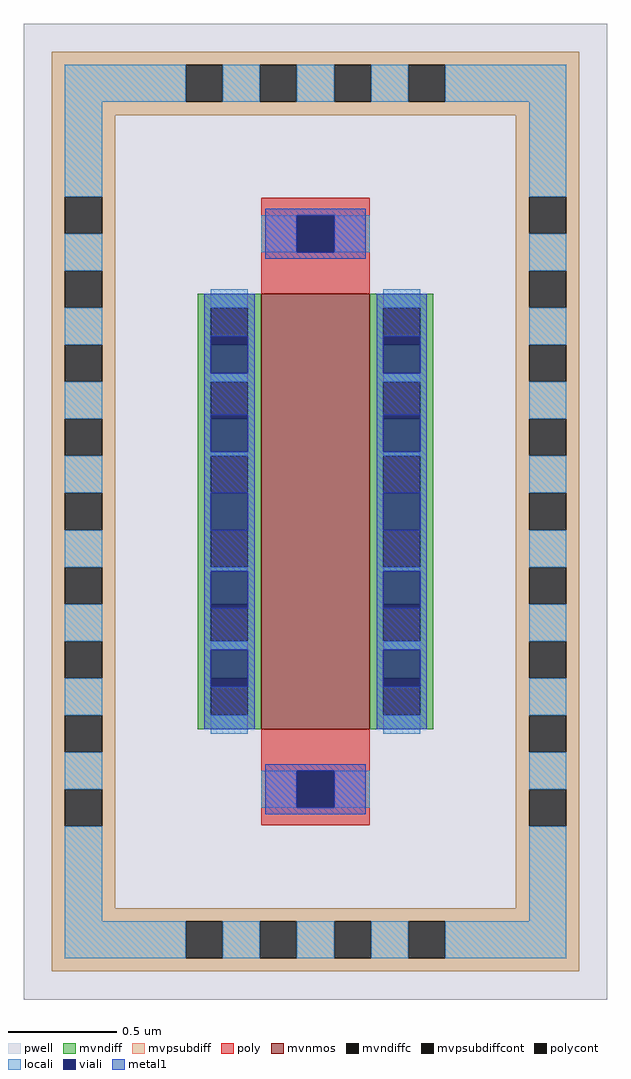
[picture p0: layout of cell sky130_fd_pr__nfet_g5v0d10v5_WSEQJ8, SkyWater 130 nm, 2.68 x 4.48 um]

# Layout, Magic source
magic
tech sky130A
magscale 1 2
<< pwell >>
rect -268 -448 268 448
<< mvnmos >>
rect -50 -200 50 200
<< mvndiff >>
rect -108 187 -50 200
rect -108 153 -96 187
rect -62 153 -50 187
rect -108 119 -50 153
rect -108 85 -96 119
rect -62 85 -50 119
rect -108 51 -50 85
rect -108 17 -96 51
rect -62 17 -50 51
rect -108 -17 -50 17
rect -108 -51 -96 -17
rect -62 -51 -50 -17
rect -108 -85 -50 -51
rect -108 -119 -96 -85
rect -62 -119 -50 -85
rect -108 -153 -50 -119
rect -108 -187 -96 -153
rect -62 -187 -50 -153
rect -108 -200 -50 -187
rect 50 187 108 200
rect 50 153 62 187
rect 96 153 108 187
rect 50 119 108 153
rect 50 85 62 119
rect 96 85 108 119
rect 50 51 108 85
rect 50 17 62 51
rect 96 17 108 51
rect 50 -17 108 17
rect 50 -51 62 -17
rect 96 -51 108 -17
rect 50 -85 108 -51
rect 50 -119 62 -85
rect 96 -119 108 -85
rect 50 -153 108 -119
rect 50 -187 62 -153
rect 96 -187 108 -153
rect 50 -200 108 -187
<< mvndiffc >>
rect -96 153 -62 187
rect -96 85 -62 119
rect -96 17 -62 51
rect -96 -51 -62 -17
rect -96 -119 -62 -85
rect -96 -187 -62 -153
rect 62 153 96 187
rect 62 85 96 119
rect 62 17 96 51
rect 62 -51 96 -17
rect 62 -119 96 -85
rect 62 -187 96 -153
<< mvpsubdiff >>
rect -242 410 242 422
rect -242 376 -119 410
rect -85 376 -51 410
rect -17 376 17 410
rect 51 376 85 410
rect 119 376 242 410
rect -242 364 242 376
rect -242 289 -184 364
rect -242 255 -230 289
rect -196 255 -184 289
rect 184 289 242 364
rect -242 221 -184 255
rect -242 187 -230 221
rect -196 187 -184 221
rect 184 255 196 289
rect 230 255 242 289
rect 184 221 242 255
rect -242 153 -184 187
rect -242 119 -230 153
rect -196 119 -184 153
rect -242 85 -184 119
rect -242 51 -230 85
rect -196 51 -184 85
rect -242 17 -184 51
rect -242 -17 -230 17
rect -196 -17 -184 17
rect -242 -51 -184 -17
rect -242 -85 -230 -51
rect -196 -85 -184 -51
rect -242 -119 -184 -85
rect -242 -153 -230 -119
rect -196 -153 -184 -119
rect -242 -187 -184 -153
rect -242 -221 -230 -187
rect -196 -221 -184 -187
rect 184 187 196 221
rect 230 187 242 221
rect 184 153 242 187
rect 184 119 196 153
rect 230 119 242 153
rect 184 85 242 119
rect 184 51 196 85
rect 230 51 242 85
rect 184 17 242 51
rect 184 -17 196 17
rect 230 -17 242 17
rect 184 -51 242 -17
rect 184 -85 196 -51
rect 230 -85 242 -51
rect 184 -119 242 -85
rect 184 -153 196 -119
rect 230 -153 242 -119
rect 184 -187 242 -153
rect -242 -255 -184 -221
rect -242 -289 -230 -255
rect -196 -289 -184 -255
rect 184 -221 196 -187
rect 230 -221 242 -187
rect 184 -255 242 -221
rect -242 -364 -184 -289
rect 184 -289 196 -255
rect 230 -289 242 -255
rect 184 -364 242 -289
rect -242 -376 242 -364
rect -242 -410 -119 -376
rect -85 -410 -51 -376
rect -17 -410 17 -376
rect 51 -410 85 -376
rect 119 -410 242 -376
rect -242 -422 242 -410
<< mvpsubdiffcont >>
rect -119 376 -85 410
rect -51 376 -17 410
rect 17 376 51 410
rect 85 376 119 410
rect -230 255 -196 289
rect -230 187 -196 221
rect 196 255 230 289
rect -230 119 -196 153
rect -230 51 -196 85
rect -230 -17 -196 17
rect -230 -85 -196 -51
rect -230 -153 -196 -119
rect -230 -221 -196 -187
rect 196 187 230 221
rect 196 119 230 153
rect 196 51 230 85
rect 196 -17 230 17
rect 196 -85 230 -51
rect 196 -153 230 -119
rect -230 -289 -196 -255
rect 196 -221 230 -187
rect 196 -289 230 -255
rect -119 -410 -85 -376
rect -51 -410 -17 -376
rect 17 -410 51 -376
rect 85 -410 119 -376
<< poly >>
rect -50 272 50 288
rect -50 238 -17 272
rect 17 238 50 272
rect -50 200 50 238
rect -50 -238 50 -200
rect -50 -272 -17 -238
rect 17 -272 50 -238
rect -50 -288 50 -272
<< polycont >>
rect -17 238 17 272
rect -17 -272 17 -238
<< locali >>
rect -230 376 -119 410
rect -85 376 -51 410
rect -17 376 17 410
rect 51 376 85 410
rect 119 376 230 410
rect -230 289 -196 376
rect 196 289 230 376
rect -230 221 -196 255
rect -50 238 -17 272
rect 17 238 50 272
rect 196 221 230 255
rect -230 153 -196 187
rect -230 85 -196 119
rect -230 17 -196 51
rect -230 -51 -196 -17
rect -230 -119 -196 -85
rect -230 -187 -196 -153
rect -96 187 -62 204
rect -96 119 -62 127
rect -96 51 -62 55
rect -96 -55 -62 -51
rect -96 -127 -62 -119
rect -96 -204 -62 -187
rect 62 187 96 204
rect 62 119 96 127
rect 62 51 96 55
rect 62 -55 96 -51
rect 62 -127 96 -119
rect 62 -204 96 -187
rect 196 153 230 187
rect 196 85 230 119
rect 196 17 230 51
rect 196 -51 230 -17
rect 196 -119 230 -85
rect 196 -187 230 -153
rect -230 -255 -196 -221
rect -50 -272 -17 -238
rect 17 -272 50 -238
rect 196 -255 230 -221
rect -230 -376 -196 -289
rect 196 -376 230 -289
rect -230 -410 -119 -376
rect -85 -410 -51 -376
rect -17 -410 17 -376
rect 51 -410 85 -376
rect 119 -410 230 -376
<< viali >>
rect -17 238 17 272
rect -96 153 -62 161
rect -96 127 -62 153
rect -96 85 -62 89
rect -96 55 -62 85
rect -96 -17 -62 17
rect -96 -85 -62 -55
rect -96 -89 -62 -85
rect -96 -153 -62 -127
rect -96 -161 -62 -153
rect 62 153 96 161
rect 62 127 96 153
rect 62 85 96 89
rect 62 55 96 85
rect 62 -17 96 17
rect 62 -85 96 -55
rect 62 -89 96 -85
rect 62 -153 96 -127
rect 62 -161 96 -153
rect -17 -272 17 -238
<< metal1 >>
rect -46 272 46 278
rect -46 238 -17 272
rect 17 238 46 272
rect -46 232 46 238
rect -102 161 -56 200
rect -102 127 -96 161
rect -62 127 -56 161
rect -102 89 -56 127
rect -102 55 -96 89
rect -62 55 -56 89
rect -102 17 -56 55
rect -102 -17 -96 17
rect -62 -17 -56 17
rect -102 -55 -56 -17
rect -102 -89 -96 -55
rect -62 -89 -56 -55
rect -102 -127 -56 -89
rect -102 -161 -96 -127
rect -62 -161 -56 -127
rect -102 -200 -56 -161
rect 56 161 102 200
rect 56 127 62 161
rect 96 127 102 161
rect 56 89 102 127
rect 56 55 62 89
rect 96 55 102 89
rect 56 17 102 55
rect 56 -17 62 17
rect 96 -17 102 17
rect 56 -55 102 -17
rect 56 -89 62 -55
rect 96 -89 102 -55
rect 56 -127 102 -89
rect 56 -161 62 -127
rect 96 -161 102 -127
rect 56 -200 102 -161
rect -46 -238 46 -232
rect -46 -272 -17 -238
rect 17 -272 46 -238
rect -46 -278 46 -272
<< properties >>
string FIXED_BBOX -212 -392 212 392
<< end >>
